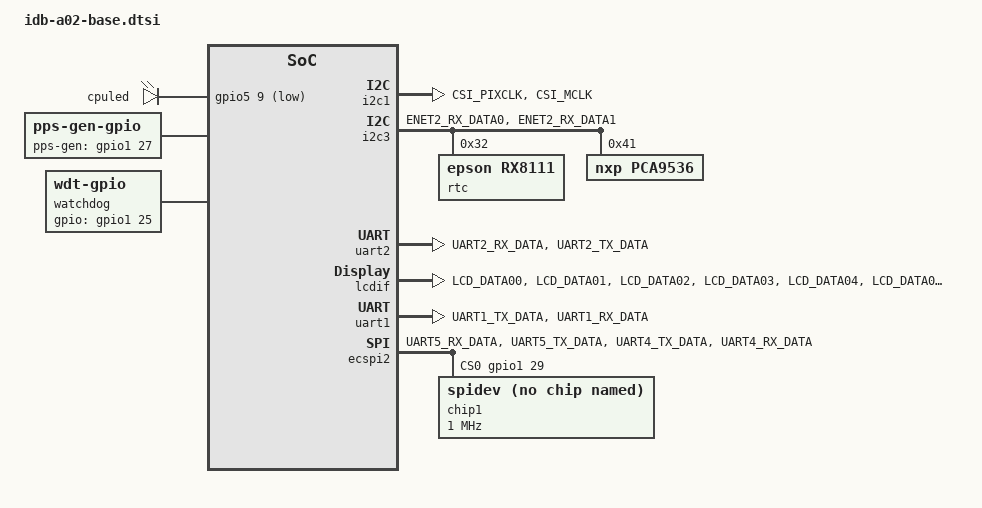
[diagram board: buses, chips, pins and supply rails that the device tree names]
/*
 * Copyright (C) 2019 Variscite Ltd. - https://www.variscite.com
 *
 * This program is free software; you can redistribute it and/or modify
 * it under the terms of the GNU General Public License version 2 as
 * published by the Free Software Foundation.
 */

/ {
	chosen {
		stdout-path = &uart1;
	};
	
	leds {
		compatible = "gpio-leds";
		pinctrl-names = "default";
		pinctrl-0 = <&pinctrl_gpio_status_led>;
		
		gpled1 {
			label = "cpuled";
			gpios = <&gpio5 9 GPIO_ACTIVE_LOW>;
			linux,default-trigger = "heartbeat";
		};
	};

	/* PPS-GEN */
	pps-gen {
		pinctrl-names = "default";
		pinctrl-0 = <&pinctrl_pps>;
		compatible = "pps-gen-gpio";
		pps-gen-gpio = <&gpio1 27 GPIO_ACTIVE_HIGH>;
		
		/*assert-falling-edge;*/
	};	
	
	watchdog: watchdog {
		compatible = "linux,wdt-gpio";
		pinctrl-names = "default";
		pinctrl-0 = <&pinctrl_gpio_wdt>;	
		gpios = <&gpio1 25 GPIO_ACTIVE_HIGH>;
		hw_algo = "toggle";
		hw_margin_ms = <1500>;
		always-running;
		status = "okay";
	};	
		
};

&i2c1 {
	clock_frequency = <100000>;
	pinctrl-names = "default";
	pinctrl-0 = <&pinctrl_i2c1>;
	status = "okay";
};

&i2c3 {
	clock_frequency = <100000>;
	pinctrl-names = "default";
	pinctrl-0 = <&pinctrl_i2c3>;
	status = "okay";

	/* RTC module */
	rtc@32 {
		compatible = "epson,rx8111";
		reg = <0x32>;
	};

	pca9536@41 {
        	compatible = "nxp,pca9536";
	        reg = <0x41>;
		gpio-controller;
		#gpio-cells = <4>;
	};

};

&iomuxc_snvs {
	pinctrl_gpio_status_led: gpio_status_ledgrp {
		fsl,pins = <
			MX6ULL_PAD_SNVS_TAMPER9__GPIO5_IO09 0x000150A0
			/* MX6ULL_PAD_SNVS_TAMPER9__GPIO5_IO09 0x1b0b0 */
		>;
	};	
	
};

&iomuxc {
	pinctrl_gpio_wdt: gpio_wdtgrp {
		fsl,pins = <
			MX6UL_PAD_UART3_RX_DATA__GPIO1_IO25	0x1b0b0	 /* GPLED2 */
		>;
	};

	pinctrl_i2c1: i2c1grp {
		fsl,pins = <
			MX6UL_PAD_CSI_PIXCLK__I2C1_SCL		0x4001b8b0
			MX6UL_PAD_CSI_MCLK__I2C1_SDA		0x4001b8b0
		>;
	};

	pinctrl_i2c3: i2c3grp {
		fsl,pins = <
			MX6UL_PAD_ENET2_RX_DATA0__I2C3_SCL		0x4001b8b0
			MX6UL_PAD_ENET2_RX_DATA1__I2C3_SDA		0x4001b8b0
		>;
	};

	pinctrl_lcdif_ctrl: lcdifctrlgrp {
		fsl,pins = <
			MX6UL_PAD_LCD_CLK__LCDIF_CLK		0x79
			MX6UL_PAD_LCD_ENABLE__LCDIF_ENABLE	0x79
		>;
	};

	pinctrl_lcdif_dat: lcdifdatgrp {
		fsl,pins = <
			MX6UL_PAD_LCD_DATA00__LCDIF_DATA00	0x79
			MX6UL_PAD_LCD_DATA01__LCDIF_DATA01	0x79
			MX6UL_PAD_LCD_DATA02__LCDIF_DATA02	0x79
			MX6UL_PAD_LCD_DATA03__LCDIF_DATA03	0x79
			MX6UL_PAD_LCD_DATA04__LCDIF_DATA04	0x79
			MX6UL_PAD_LCD_DATA05__LCDIF_DATA05	0x79
			MX6UL_PAD_LCD_DATA06__LCDIF_DATA06	0x79
			MX6UL_PAD_LCD_DATA07__LCDIF_DATA07	0x79
			MX6UL_PAD_LCD_DATA08__LCDIF_DATA08	0x79
			MX6UL_PAD_LCD_DATA09__LCDIF_DATA09	0x79
			MX6UL_PAD_LCD_DATA10__LCDIF_DATA10	0x79
			MX6UL_PAD_LCD_DATA11__LCDIF_DATA11	0x79
			MX6UL_PAD_LCD_DATA12__LCDIF_DATA12	0x79
			MX6UL_PAD_LCD_DATA13__LCDIF_DATA13	0x79
			MX6UL_PAD_LCD_DATA14__LCDIF_DATA14	0x79
			MX6UL_PAD_LCD_DATA15__LCDIF_DATA15	0x79
			MX6UL_PAD_LCD_DATA16__LCDIF_DATA16	0x79
			MX6UL_PAD_LCD_DATA17__LCDIF_DATA17	0x79
			MX6UL_PAD_LCD_DATA18__LCDIF_DATA18	0x79
			MX6UL_PAD_LCD_DATA19__LCDIF_DATA19	0x79
			MX6UL_PAD_LCD_DATA20__LCDIF_DATA20	0x79
			MX6UL_PAD_LCD_DATA21__LCDIF_DATA21	0x79
			MX6UL_PAD_LCD_DATA22__LCDIF_DATA22	0x79
			MX6UL_PAD_LCD_DATA23__LCDIF_DATA23	0x79
		>;
	};

	pinctrl_uart1: uart1grp {
		fsl,pins = <
			MX6UL_PAD_UART1_TX_DATA__UART1_DCE_TX	0x1b0b1
			MX6UL_PAD_UART1_RX_DATA__UART1_DCE_RX	0x1b0b1
		>;
	};
	
	pinctrl_ecspi2_1: ecspi2grp {
		fsl,pins = <
			MX6UL_PAD_UART5_RX_DATA__ECSPI2_MISO	0x100b1
			MX6UL_PAD_UART5_TX_DATA__ECSPI2_MOSI	0x100b1
			MX6UL_PAD_UART4_TX_DATA__ECSPI2_SCLK	0x100b1
			MX6UL_PAD_UART4_RX_DATA__GPIO1_IO29		0x100b1
		>;
	};
	
	pinctrl_pps: gpio_ppsgrp {
		fsl,pins = <
			MX6UL_PAD_UART3_RTS_B__GPIO1_IO27	0x1b0b1
		>;
	};

	pinctrl_uart2: uart2grp {
		fsl,pins = <
			MMX6UL_PAD_UART2_RX_DATA__UART2_DCE_RX	0x1b0b1
			MX6UL_PAD_UART2_TX_DATA__UART2_DCE_TX	0x1b0b1		
		>;
	};

};

&uart2 {
	pinctrl-names = "default";
	pinctrl-0 = <&pinctrl_uart2>;
	status = "okay";
};

&lcdif {
	pinctrl-names = "default";
	pinctrl-0 = <&pinctrl_lcdif_dat
		     &pinctrl_lcdif_ctrl>;
	display = <&display0>;
	status = "okay";

	display0: display {
		bits-per-pixel = <32>;
		bus-width = <24>;

		display-timings {
			native-mode = <&timing0>;
			timing0: timing0 {
				clock-frequency =<33000000>;
				hactive = <800>;
				vactive = <480>;
				hfront-porch = <40>;
				hback-porch = <88>;
				hsync-len = <128>;
				vback-porch = <33>;
				vfront-porch = <10>;
				vsync-len = <2>;
				hsync-active = <0>;
				vsync-active = <0>;
				de-active = <1>;
				pixelclk-active = <0>;
			};
		};
	};
};


&snvs_pwrkey {
	status = "disabled";
};

&tsc {
	status = "disabled";
};

&uart1 {
	pinctrl-names = "default";
	pinctrl-0 = <&pinctrl_uart1>;
	status = "okay";
};

&ecspi2 {
	fsl,spi-num-chipselects = <1>;
	cs-gpios = <&gpio1 29 0>;
	pinctrl-names = "default";
	pinctrl-0 = <&pinctrl_ecspi2_1>;
	status = "okay";

	chip1:spidev@0 {
		compatible = "spidev";
		spi-max-frequency = <1000000>;
		reg = <0>;
	};
};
